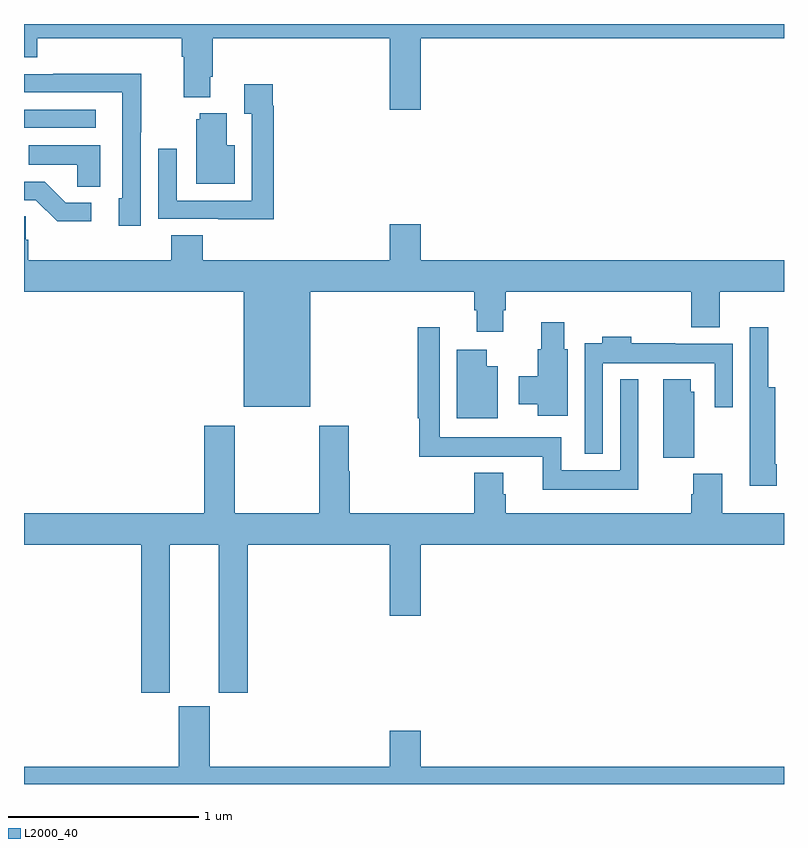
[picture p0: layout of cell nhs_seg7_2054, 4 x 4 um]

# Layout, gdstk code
import gdstk
lib = gdstk.Library(unit=1e-6, precision=1e-09)
def R(c, l, rs):  # rectangles x0, y0, x1, y1
    for r in rs: c.add(gdstk.rectangle(r[:2], r[2:], *l))
def P(c, l, *ps):  # polygons
    for p in ps: c.add(gdstk.Polygon(p, *l))
L2000_40 = (2000, 40)

nhs_seg7_2054 = lib.new_cell('nhs_seg7_2054')
R(nhs_seg7_2054, L2000_40, [(247,1025.454,247.378,1025.55)])
P(nhs_seg7_2054, L2000_40, [(249.088,1025.924),(251,1025.924),(251,1026),(247,1026),(247,1025.825),(247.07,1025.825),(247.07,1025.924),(247.829,1025.924),(247.829,1025.828),(247.841,1025.828),(247.841,1025.615),(247.981,1025.615),(247.981,1025.722),(247.994,1025.722),(247.994,1025.924),(248.924,1025.924),(248.924,1025.55),(249.088,1025.55)],
  [(247.614,1025.431),(247.617,1025.431),(247.617,1025.738),(247.153,1025.738),(247.153,1025.736),(247,1025.736),(247,1025.64),(247.518,1025.64),(247.518,1025.082),(247.499,1025.082),(247.499,1024.938),(247.614,1024.938)],
  [(248.315,1025.57),(248.308,1025.57),(248.308,1025.683),(248.159,1025.683),(248.159,1025.527),(248.199,1025.527),(248.199,1025.07),(247.803,1025.07),(247.803,1025.344),(247.707,1025.344),(247.707,1024.974),(248.023,1024.974),(248.023,1024.973),(248.315,1024.973)],
  [(248.11,1025.362),(248.068,1025.362),(248.068,1025.53),(247.925,1025.53),(247.925,1025.499),(247.907,1025.499),(247.907,1025.159),(248.11,1025.159)],
  [(247.402,1025.362),(247.024,1025.362),(247.024,1025.258),(247.281,1025.258),(247.281,1025.143),(247.402,1025.143)],
  [(247.354,1025.058),(247.219,1025.058),(247.108,1025.169),(247,1025.169),(247,1025.073),(247.062,1025.073),(247.175,1024.961),(247.354,1024.961)],
  [(248.506,1024.592),(249.371,1024.592),(249.371,1024.494),(249.383,1024.494),(249.383,1024.38),(249.523,1024.38),(249.523,1024.494),(249.536,1024.494),(249.536,1024.592),(250.511,1024.592),(250.511,1024.403),(250.663,1024.403),(250.663,1024.592),(251,1024.592),(251,1024.756),(249.088,1024.756),(249.088,1024.945),(248.924,1024.945),(248.924,1024.756),(247.94,1024.756),(247.94,1024.889),(247.775,1024.889),(247.775,1024.756),(247.022,1024.756),(247.022,1024.865),(247.008,1024.865),(247.008,1024.988),(247,1024.988),(247,1024.592),(248.156,1024.592),(248.156,1023.986),(248.506,1023.986)],
  [(249.862,1024.287),(249.844,1024.287),(249.844,1024.429),(249.722,1024.429),(249.722,1024.287),(249.704,1024.287),(249.704,1024.146),(249.605,1024.146),(249.605,1023.998),(249.704,1023.998),(249.704,1023.939),(249.862,1023.939)],
  [(250.234,1024.129),(250.137,1024.129),(250.137,1023.652),(249.828,1023.652),(249.828,1023.826),(249.189,1023.826),(249.189,1024.405),(249.073,1024.405),(249.073,1023.926),(249.081,1023.926),(249.081,1023.722),(249.731,1023.722),(249.731,1023.548),(250.234,1023.548)],
  [(250.962,1023.682),(250.954,1023.682),(250.954,1024.087),(250.918,1024.087),(250.918,1024.405),(250.821,1024.405),(250.821,1023.983),(250.82,1023.983),(250.82,1023.57),(250.962,1023.57)],
  [(250.047,1024.214),(250.635,1024.214),(250.635,1023.984),(250.731,1023.984),(250.731,1024.318),(250.427,1024.318),(250.427,1024.321),(250.196,1024.321),(250.196,1024.354),(250.043,1024.354),(250.043,1024.321),(249.951,1024.321),(249.951,1023.737),(250.047,1023.737)],
  [(249.493,1024.198),(249.436,1024.198),(249.436,1024.285),(249.278,1024.285),(249.278,1023.926),(249.493,1023.926)],
  [(250.528,1024.065),(250.51,1024.065),(250.51,1024.129),(250.364,1024.129),(250.364,1023.718),(250.528,1023.718)],
  [(247.768,1023.26),(248.024,1023.26),(248.024,1022.481),(248.177,1022.481),(248.177,1023.26),(248.924,1023.26),(248.924,1022.886),(249.088,1022.886),(249.088,1023.26),(251,1023.26),(251,1023.424),(250.676,1023.424),(250.676,1023.633),(250.523,1023.633),(250.523,1023.524),(250.511,1023.524),(250.511,1023.424),(249.536,1023.424),(249.536,1023.525),(249.523,1023.525),(249.523,1023.637),(249.371,1023.637),(249.371,1023.424),(248.714,1023.424),(248.714,1023.647),(248.709,1023.647),(248.709,1023.886),(248.554,1023.886),(248.554,1023.424),(248.109,1023.424),(248.109,1023.886),(247.949,1023.886),(247.949,1023.424),(247,1023.424),(247,1023.26),(247.616,1023.26),(247.616,1022.481),(247.768,1022.481)],
  [(251,1022.092),(249.088,1022.092),(249.088,1022.281),(248.924,1022.281),(248.924,1022.092),(247.978,1022.092),(247.978,1022.409),(247.814,1022.409),(247.814,1022.092),(247,1022.092),(247,1022),(251,1022)])

lib.write_gds('nhs_seg7_2054.gds')
